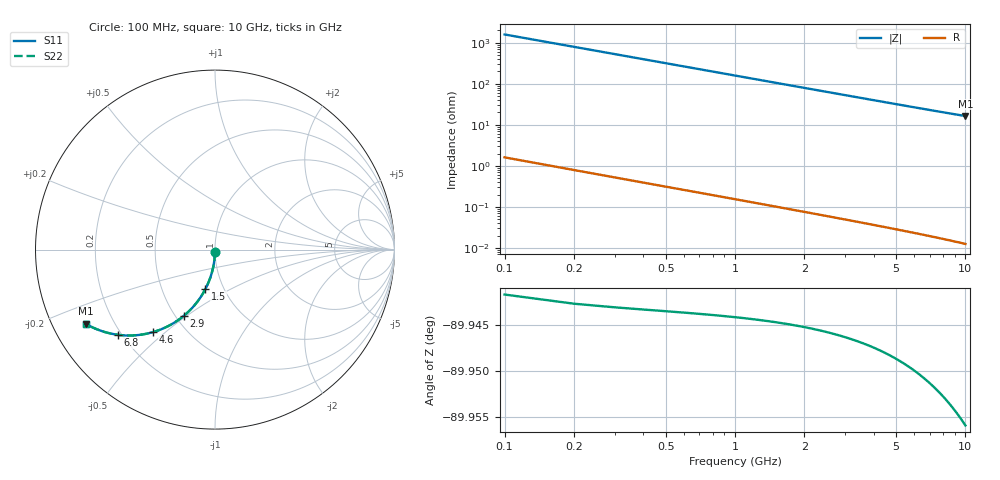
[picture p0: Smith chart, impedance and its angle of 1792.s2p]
# Hz S RI R 50.00
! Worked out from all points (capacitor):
!   100 points, 100 MHz to 10 GHz, reference 50 ohm
!   read as one part in shunt: C = 1 pF near 100 MHz
!   lowest |Z| = 16.4 ohm at 10 GHz (marker M1)
!   S11 on the Smith chart (normalised r, x): 100 MHz: 1.00, -0.03; 1.5 GHz: 0.82, -0.38; 2.9 GHz: 0.55, -0.49; 4.6 GHz: 0.33, -0.45; 6.8 GHz: 0.19, -0.37; 10 GHz: 0.10, -0.26
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1e8  -0.00012 -0.0154  0.9996 -0.0161  0.9996 -0.0161  -0.00012 -0.0154
2e8  -0.000879 -0.0308  0.9988 -0.0322  0.9988 -0.0322  -0.000879 -0.0308
3e8  -0.00213 -0.0462  0.9976 -0.0482  0.9976 -0.0482  -0.00213 -0.0462
4e8  -0.00388 -0.0615  0.9958 -0.0642  0.9958 -0.0642  -0.00388 -0.0615
5e8  -0.00611 -0.0767  0.9936 -0.08  0.9936 -0.08  -0.00611 -0.0767
6e8  -0.00881 -0.0918  0.9909 -0.0958  0.9909 -0.0958  -0.00881 -0.0918
7e8  -0.012 -0.1067  0.9877 -0.1114  0.9877 -0.1114  -0.012 -0.1067
9e8  -0.0197 -0.1361  0.98 -0.1421  0.98 -0.1421  -0.0197 -0.1361
1.2e9  -0.0346 -0.1787  0.9651 -0.1867  0.9651 -0.1867  -0.0346 -0.1787
1.5e9  -0.0531 -0.219  0.9466 -0.229  0.9466 -0.229  -0.0531 -0.219
1.8e9  -0.0747 -0.2567  0.9249 -0.2688  0.9249 -0.2688  -0.0747 -0.2567
2.3e9  -0.1166 -0.313  0.883 -0.3284  0.883 -0.3284  -0.1166 -0.313
2.9e9  -0.1736 -0.3688  0.8259 -0.3882  0.8259 -0.3882  -0.1736 -0.3688
3.4e9  -0.2243 -0.4054  0.7751 -0.4282  0.7751 -0.4282  -0.2243 -0.4054
4e9  -0.2862 -0.4382  0.7132 -0.4651  0.7132 -0.4651  -0.2862 -0.4382
4.6e9  -0.3469 -0.4601  0.6523 -0.4911  0.6523 -0.4911  -0.3469 -0.4601
5.1e9  -0.3955 -0.4713  0.6036 -0.5057  0.6036 -0.5057  -0.3955 -0.4713
5.9e9  -0.4676 -0.4785  0.5312 -0.5184  0.5312 -0.5184  -0.4676 -0.4785
6.7e9  -0.532 -0.4757  0.4666 -0.5211  0.4666 -0.5211  -0.532 -0.4757
6.8e9  -0.5395 -0.4748  0.4591 -0.5209  0.4591 -0.5209  -0.5395 -0.4748
8.4e9  -0.6432 -0.4495  0.3548 -0.5069  0.3548 -0.5069  -0.6432 -0.4495
1e10  -0.7206 -0.413  0.2766 -0.4819  0.2766 -0.4819  -0.7206 -0.413
